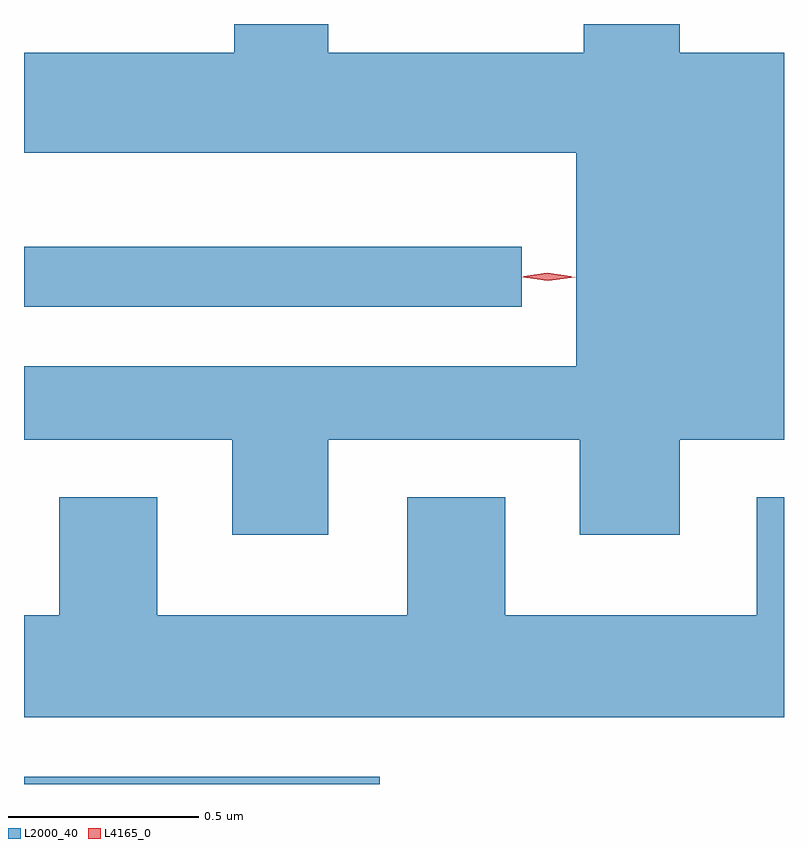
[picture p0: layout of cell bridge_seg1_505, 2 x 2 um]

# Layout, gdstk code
import gdstk
lib = gdstk.Library(unit=1e-6, precision=1e-09)
def R(c, l, rs):  # rectangles x0, y0, x1, y1
    for r in rs: c.add(gdstk.rectangle(r[:2], r[2:], *l))
def P(c, l, *ps):  # polygons
    for p in ps: c.add(gdstk.Polygon(p, *l))
L2000_40 = (2000, 40)
L4165_0 = (4165, 0)

bridge_seg1_505 = lib.new_cell('bridge_seg1_505')
R(bridge_seg1_505, L2000_40, [(608.118,886.08,609.054,886.099), (608.118,887.336,609.428,887.494)])
P(bridge_seg1_505, L2000_40, [(608.919,886.986),(609.581,886.986),(609.581,886.736),(609.844,886.736),(609.844,886.986),(610.118,886.986),(610.118,888.004),(609.844,888.004),(609.844,888.08),(609.591,888.08),(609.591,888.004),(608.919,888.004),(608.919,888.08),(608.671,888.08),(608.671,888.004),(608.118,888.004),(608.118,887.741),(609.571,887.741),(609.571,887.179),(608.118,887.179),(608.118,886.986),(608.666,886.986),(608.666,886.736),(608.919,886.736)],
  [(610.118,886.834),(610.046,886.834),(610.046,886.524),(609.384,886.524),(609.384,886.834),(609.126,886.834),(609.126,886.524),(608.469,886.524),(608.469,886.834),(608.211,886.834),(608.211,886.524),(608.118,886.524),(608.118,886.256),(610.118,886.256)])
P(bridge_seg1_505, L4165_0, [(609.495,887.405),(609.433,887.414),(609.433,887.415),(609.433,887.416),(609.495,887.425),(609.557,887.416),(609.558,887.416),(609.557,887.415)],
  [(609.499,887.404),(609.43,887.413),(609.429,887.414),(609.43,887.414),(609.499,887.424),(609.567,887.414),(609.568,887.414),(609.567,887.413)])

lib.write_gds('bridge_seg1_505.gds')
